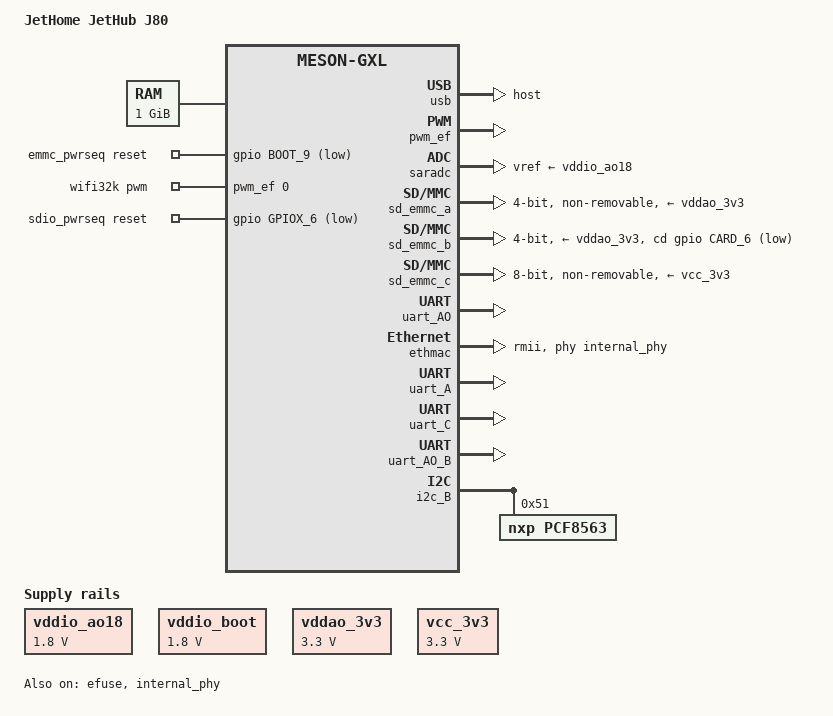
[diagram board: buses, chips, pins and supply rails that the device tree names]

/dts-v1/;

#include "meson-gxl.dtsi"
#include "partition.dtsi"

/ {
	compatible = "jethome,j80", "amlogic,s905w", "amlogic,meson-gxl";
	model = "JetHome JetHub J80";
	amlogic-dt-id = "gxl_jethubj80_v1";

	memory@0 {
		device_type = "memory";
		reg = <0x0 0x0 0x0 0x40000000>;
	};

	reserved-memory {
		#address-cells = <2>;
		#size-cells = <2>;
		ranges;
		linux,cma {
			compatible = "shared-dma-pool";
			reusable; size = <0x0 0x400000>;
			alignment = <0x0 0x400000>;
			linux,cma-default;
		};
	};

	aliases {
		serial0 = &uart_AO;   /* Console */
		serial1 = &uart_A;    /* Bluetooth */
		serial2 = &uart_AO_B; /* Wireless module 1 */
		serial3 = &uart_C;    /* Wireless module 2 */
		ethernet0 = &ethmac;
	};

	chosen {
		stdout-path = "serial0:115200n8";
	};

	vddio_ao18: regulator-vddio_ao18 {
		compatible = "regulator-fixed";
		regulator-name = "VDDIO_AO18";
		regulator-min-microvolt = <1800000>;
		regulator-max-microvolt = <1800000>;
	};

	vddio_boot: regulator-vddio_boot {
		compatible = "regulator-fixed";
		regulator-name = "VDDIO_BOOT";
		regulator-min-microvolt = <1800000>;
		regulator-max-microvolt = <1800000>;
	};

	vddao_3v3: regulator-vddao_3v3 {
		compatible = "regulator-fixed";
		regulator-name = "VDDAO_3V3";
		regulator-min-microvolt = <3300000>;
		regulator-max-microvolt = <3300000>;
	};

	vcc_3v3: regulator-vcc_3v3 {
		compatible = "regulator-fixed";
		regulator-name = "VCC_3V3";
		regulator-min-microvolt = <3300000>;
		regulator-max-microvolt = <3300000>;
	};

	emmc_pwrseq: emmc-pwrseq {
		compatible = "mmc-pwrseq-emmc";
		reset-gpios = <&gpio BOOT_9 GPIO_ACTIVE_LOW>;
	};

	wifi32k: wifi32k {
		compatible = "pwm-clock";
		#clock-cells = <0>;
		clock-frequency = <32768>;
		pwms = <&pwm_ef 0 30518 0>; /* PWM_E at 32.768KHz */
	};

	sdio_pwrseq: sdio-pwrseq {
		compatible = "mmc-pwrseq-simple";
		reset-gpios = <&gpio GPIOX_6 GPIO_ACTIVE_LOW>;
		clocks = <&wifi32k>;
		clock-names = "ext_clock";
	};

	efusekey: efusekey {
		keynum = <5>;
		key0 = <&key_0>;
		key1 = <&key_1>;
		key2 = <&key_2>;
		key3 = <&key_3>;
		key4 = <&key_4>;

		key_0: key_0 {
			keyname = "mac";
			offset = <0>;
			size = <6>;
		};
		key_1: key_1 {
			keyname = "mac_bt";
			offset = <6>;
			size = <6>;
		};
		key_2: key_2 {
			keyname = "mac_wifi";
			offset = <12>;
			size = <6>;
		};
		key_3: key_3 {
			keyname = "usid";
			offset = <18>;
			size = <32>;
		};
		key_4: key_4 {
			keyname = "serial";
			offset = <50>;
			size = <32>;
		};
	}; //End efusekey

	unifykey {
		compatible = "amlogic, unifykey";
		status = "ok";
		unifykey-num = <6>;
		unifykey-index-0 = <&keysn_0>;
		unifykey-index-1 = <&keysn_1>;
		unifykey-index-2 = <&keysn_2>;
		unifykey-index-3 = <&keysn_3>;
		unifykey-index-4 = <&keysn_4>;
		unifykey-index-5 = <&keysn_5>;

		keysn_0: key_0 {
			key-name = "usid";
			key-device = "efuse";
			key-permit = "read","write";
		};
		keysn_1: key_1 {
			key-name = "mac";
			key-device = "efuse";
			key-permit = "read","write";
		};
		keysn_2: key_2 {
			key-name = "mac_bt";
			key-device = "normal";
			key-permit = "read","write","del";
			key-type  = "mac";
		};
		keysn_3: key_3 {
			key-name = "mac_wifi";
			key-device = "normal";
			key-permit = "read","write","del";
			key-type = "mac";
		};
		keysn_4: key_4 {
			key-name = "serial";
			key-device = "efuse";
			key-permit = "read","write";
		};
		keysn_5:key_5 {
			key-name = "deviceid";
			key-device = "normal";
			key-permit = "read","write","del";
		};
	}; //End unifykey
};

&usb {
	status = "okay";
	dr_mode = "host";
};

&efuse {
	status = "okay";
	compatible = "amlogic,meson-gxbb-efuse", "amlogic, efuse";
	read_cmd = <0x82000030>;
	write_cmd = <0x82000031>;
	get_max_cmd = <0x82000033>;
	key = <&efusekey>;
	clock-names = "efuse_clk";
};

&pwm_ef {
	status = "okay";
	pinctrl-0 = <&pwm_e_pins>;
	pinctrl-names = "default";
	clocks = <&clkc CLKID_FCLK_DIV4>;
	clock-names = "clkin0";
};

&saradc {
	status = "okay";
	vref-supply = <&vddio_ao18>;
};

/* Wireless SDIO Module */
&sd_emmc_a {
	status = "okay";
	pinctrl-0 = <&sdio_pins>;
	pinctrl-1 = <&sdio_clk_gate_pins>;
	pinctrl-names = "default", "clk-gate";
	#address-cells = <1>;
	#size-cells = <0>;

	bus-width = <4>;
	cap-sd-highspeed;
	max-frequency = <50000000>;

	non-removable;
	disable-wp;

	/* WiFi firmware requires power to be kept while in suspend */
	keep-power-in-suspend;

	mmc-pwrseq = <&sdio_pwrseq>;

	vmmc-supply = <&vddao_3v3>;
	vqmmc-supply = <&vddio_boot>;
};

/* SD card */
&sd_emmc_b {
	status = "okay";
	pinctrl-0 = <&sdcard_pins>;
	pinctrl-1 = <&sdcard_clk_gate_pins>;
	pinctrl-names = "default", "clk-gate";

	bus-width = <4>;
	cap-sd-highspeed;
	max-frequency = <50000000>;
	disable-wp;

	cd-gpios = <&gpio CARD_6 GPIO_ACTIVE_LOW>;

	vmmc-supply = <&vddao_3v3>;
	vqmmc-supply = <&vddio_boot>;
};

/* eMMC */
&sd_emmc_c {
	status = "okay";
	pinctrl-0 = <&emmc_pins>, <&emmc_ds_pins>;
	pinctrl-1 = <&emmc_clk_gate_pins>;
	pinctrl-names = "default", "clk-gate";

	bus-width = <8>;
	cap-mmc-highspeed;
	max-frequency = <200000000>;
	non-removable;
	disable-wp;
	mmc-ddr-1_8v;
	mmc-hs200-1_8v;

	mmc-pwrseq = <&emmc_pwrseq>;
	vmmc-supply = <&vcc_3v3>;
	vqmmc-supply = <&vddio_boot>;
};

/* Console UART */
&uart_AO {
	status = "okay";
	pinctrl-0 = <&uart_ao_a_pins>;
	pinctrl-names = "default";
};

/* S905X only has access to its internal PHY */
&ethmac {
	status = "okay";
	phy-mode = "rmii";
	phy-handle = <&internal_phy>;
};

&internal_phy {
	status = "okay";
	pinctrl-0 = <&eth_link_led_pins>, <&eth_act_led_pins>;
	pinctrl-names = "default";
};

&uart_A {
	status = "okay";
	pinctrl-0 = <&uart_a_pins>, <&uart_a_cts_rts_pins>;
	pinctrl-names = "default";
};

&uart_C {
	status = "okay";
	pinctrl-0 = <&uart_c_pins>;
	pinctrl-names = "default";
};

&uart_AO_B {
	status = "okay";
	pinctrl-0 = <&uart_ao_b_pins>, <&uart_ao_b_cts_rts_pins>;
	pinctrl-names = "default";
	uart-has-rtscts;
};

&i2c_B {
	status = "okay";
	pinctrl-names="default";
	pinctrl-0=<&i2c_b_pins>;

	pcf8563: pcf8563@51 {
		compatible = "nxp,pcf8563";
		reg = <0x51>;
		status = "okay";
	};
};

